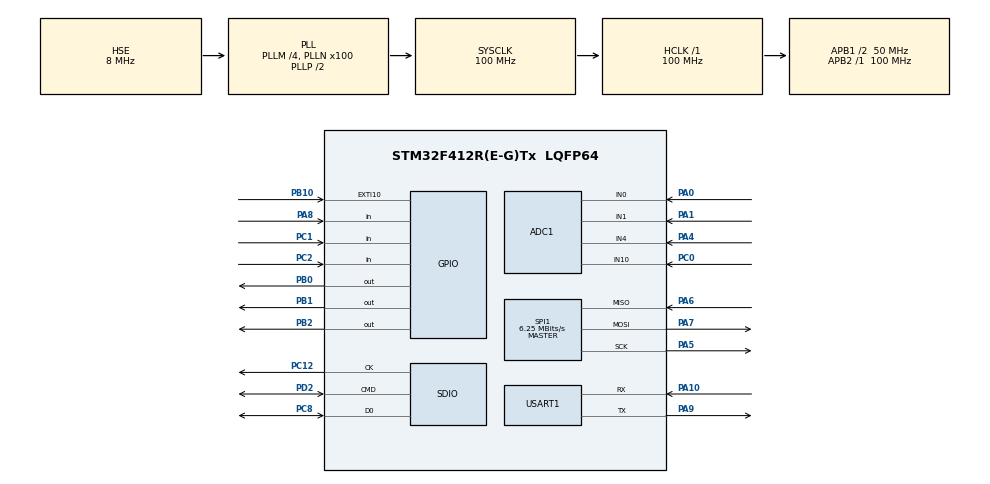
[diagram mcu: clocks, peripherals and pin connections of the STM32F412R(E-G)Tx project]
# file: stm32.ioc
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ADC1.Channel-0\#ChannelRegularConversion=ADC_CHANNEL_0
ADC1.Channel-1\#ChannelRegularConversion=ADC_CHANNEL_1
ADC1.Channel-2\#ChannelRegularConversion=ADC_CHANNEL_4
ADC1.Channel-3\#ChannelRegularConversion=ADC_CHANNEL_10
ADC1.ContinuousConvMode=ENABLE
ADC1.DMAContinuousRequests=ENABLE
ADC1.ExternalTrigConv=ADC_EXTERNALTRIGCONV_T2_TRGO
ADC1.NbrOfConversion=4
ADC1.NbrOfConversionFlag=1
ADC1.Rank-0\#ChannelRegularConversion=1
ADC1.Rank-1\#ChannelRegularConversion=2
ADC1.Rank-2\#ChannelRegularConversion=3
ADC1.Rank-3\#ChannelRegularConversion=4
ADC1.SamplingTime-0\#ChannelRegularConversion=ADC_SAMPLETIME_84CYCLES
ADC1.SamplingTime-1\#ChannelRegularConversion=ADC_SAMPLETIME_84CYCLES
ADC1.SamplingTime-2\#ChannelRegularConversion=ADC_SAMPLETIME_84CYCLES
ADC1.SamplingTime-3\#ChannelRegularConversion=ADC_SAMPLETIME_84CYCLES
ADC1.ScanConvMode=ENABLE
ADC1.master=1
Dma.ADC1.1.Direction=DMA_PERIPH_TO_MEMORY
Dma.ADC1.1.FIFOMode=DMA_FIFOMODE_DISABLE
Dma.ADC1.1.Instance=DMA2_Stream0
Dma.ADC1.1.MemDataAlignment=DMA_MDATAALIGN_HALFWORD
Dma.ADC1.1.MemInc=DMA_MINC_ENABLE
Dma.ADC1.1.Mode=DMA_CIRCULAR
Dma.ADC1.1.PeriphDataAlignment=DMA_PDATAALIGN_HALFWORD
Dma.ADC1.1.PeriphInc=DMA_PINC_DISABLE
Dma.ADC1.1.Priority=DMA_PRIORITY_LOW
Dma.Request0=SDIO
Dma.Request1=ADC1
Dma.SDIO.0.Direction=DMA_PERIPH_TO_MEMORY
Dma.SDIO.0.FIFOMode=DMA_FIFOMODE_ENABLE
Dma.SDIO.0.FIFOThreshold=DMA_FIFO_THRESHOLD_FULL
Dma.SDIO.0.Instance=DMA2_Stream3
Dma.SDIO.0.MemBurst=DMA_MBURST_INC4
Dma.SDIO.0.MemDataAlignment=DMA_MDATAALIGN_WORD
Dma.SDIO.0.MemInc=DMA_MINC_ENABLE
Dma.SDIO.0.Mode=DMA_PFCTRL
Dma.SDIO.0.PeriphBurst=DMA_PBURST_INC4
Dma.SDIO.0.PeriphDataAlignment=DMA_PDATAALIGN_WORD
Dma.SDIO.0.PeriphInc=DMA_PINC_DISABLE
Dma.SDIO.0.Priority=DMA_PRIORITY_LOW
FATFS.BSP.number=1
FATFS._USE_LFN=2
FATFS0.BSP.STBoard=false
FATFS0.BSP.api=Unknown
FATFS0.BSP.instance=PA8
FATFS0.BSP.ip=GPIO
FATFS0.BSP.mode=Input
FATFS0.BSP.name=Detect_SDIO
FATFS0.BSP.solution=PA8
FREERTOS.Tasks01=AppTask,24,1024,StartAppTask,Default,NULL,Dynamic,NULL,NULL
FREERTOS.configCHECK_FOR_STACK_OVERFLOW=2
Mcu.Family=STM32F4
Mcu.Name=STM32F412R(E-G)Tx
Mcu.Package=LQFP64
NVIC.DMA2_Stream0_IRQn=true\:5\:0\:false\:false\:true\:true\:false\:true\:true
NVIC.DMA2_Stream3_IRQn=true\:5\:0\:false\:false\:true\:true\:false\:true\:true
NVIC.EXTI15_10_IRQn=true\:5\:0\:false\:false\:true\:true\:true\:true\:true
NVIC.PriorityGroup=NVIC_PRIORITYGROUP_4
NVIC.SDIO_IRQn=true\:5\:0\:false\:false\:true\:true\:true\:true\:true
NVIC.TIM6_IRQn=true\:15\:0\:false\:false\:true\:false\:false\:true\:true
NVIC.TimeBase=TIM6_IRQn
NVIC.TimeBaseIP=TIM6
PA0.Signal=ADCx_IN0
PA1.Signal=ADCx_IN1
PA10.Mode=Asynchronous
PA10.Signal=USART1_RX
PA13.Mode=Serial_Wire
PA13.Signal=SYS_JTMS-SWDIO
PA14.Mode=Serial_Wire
PA14.Signal=SYS_JTCK-SWCLK
PA4.Signal=ADCx_IN4
PA5.Mode=Full_Duplex_Master
PA5.Signal=SPI1_SCK
PA6.Mode=Full_Duplex_Master
PA6.Signal=SPI1_MISO
PA7.Mode=Full_Duplex_Master
PA7.Signal=SPI1_MOSI
PA8.GPIO_PuPd=GPIO_PULLUP
PA8.Signal=GPIO_Input
PA9.Mode=Asynchronous
PA9.Signal=USART1_TX
PB0.Signal=GPIO_Output
PB1.Signal=GPIO_Output
PB10.GPIO_ModeDefaultEXTI=GPIO_MODE_IT_FALLING
PB10.GPIO_PuPd=GPIO_PULLUP
PB10.Signal=GPXTI10
PB2.Signal=GPIO_Output
PC0.Signal=ADCx_IN10
PC1.GPIO_PuPd=GPIO_PULLUP
PC1.Signal=GPIO_Input
PC12.Mode=SD_1_bit
PC12.Signal=SDIO_CK
PC2.GPIO_PuPd=GPIO_PULLUP
PC2.Signal=GPIO_Input
PC8.Mode=SD_1_bit
PC8.Signal=SDIO_D0
PD2.GPIO_PuPd=GPIO_PULLUP
PD2.Mode=SD_1_bit
PD2.Signal=SDIO_CMD
PH0\ -\ OSC_IN.Mode=HSE-External-Oscillator
PH0\ -\ OSC_IN.Signal=RCC_OSC_IN
PH1\ -\ OSC_OUT.Mode=HSE-External-Oscillator
PH1\ -\ OSC_OUT.Signal=RCC_OSC_OUT
ProjectManager.HeapSize=0x200
ProjectManager.StackSize=0x400
ProjectManager.TargetToolchain=CMake
RCC.AHBFreq_Value=100000000
RCC.APB1CLKDivider=RCC_HCLK_DIV2
RCC.APB1Freq_Value=50000000
RCC.APB1TimFreq_Value=100000000
RCC.APB2Freq_Value=100000000
RCC.APB2TimFreq_Value=100000000
RCC.CortexFreq_Value=100000000
RCC.HCLKFreq_Value=100000000
RCC.HSE_VALUE=8000000
RCC.PLLI2SM=8
RCC.PLLI2SQ=4
RCC.PLLM=4
RCC.PLLN=100
RCC.PLLSourceVirtual=RCC_PLLSOURCE_HSE
RCC.SYSCLKFreq_VALUE=100000000
RCC.SYSCLKSource=RCC_SYSCLKSOURCE_PLLCLK
RCC.USBCLockSelection=RCC_CLK48CLKSOURCE_PLLI2SQ
RCC.USBFreq_Value=48000000
RCC.VCOOutputFreq_Value=200000000
SH.ADCx_IN0.0=ADC1_IN0,IN0
SH.ADCx_IN1.0=ADC1_IN1,IN1
SH.ADCx_IN10.0=ADC1_IN10,IN10
SH.ADCx_IN4.0=ADC1_IN4,IN4
SPI1.BaudRatePrescaler=SPI_BAUDRATEPRESCALER_16
SPI1.CalculateBaudRate=6.25 MBits/s
SPI1.Direction=SPI_DIRECTION_2LINES
SPI1.Mode=SPI_MODE_MASTER
SPI1.VirtualType=VM_MASTER
TIM2.TIM_MasterOutputTrigger=TIM_TRGO_UPDATE
USART1.VirtualMode=VM_ASYNC
VP_FATFS_VS_Generic.Mode=User_defined
VP_FATFS_VS_SDIO.Mode=SDIO
VP_FREERTOS_VS_CMSIS_V2.Mode=CMSIS_V2
VP_RNG_VS_RNG.Mode=RNG_Activate
VP_SYS_VS_tim6.Mode=TIM6
VP_TIM2_VS_ClockSourceINT.Mode=Internal
board=custom

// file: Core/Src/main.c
/* USER CODE BEGIN Header */
/**
  ******************************************************************************
  * @file           : main.c
  * @brief          : Main program body
  ******************************************************************************
  * @attention
  *
  * Copyright (c) 2026 STMicroelectronics.
  * All rights reserved.
  *
  * This software is licensed under terms that can be found in the LICENSE file
  * in the root directory of this software component.
  * If no LICENSE file comes with this software, it is provided AS-IS.
  *
  ******************************************************************************
  */
/* USER CODE END Header */
#include "main.h"
#include "cmsis_os.h"
#include "fatfs.h"

/* USER CODE BEGIN Includes */
#include "include/logger.h"
/* USER CODE END Includes */

ADC_HandleTypeDef hadc1;
DMA_HandleTypeDef hdma_adc1;

RNG_HandleTypeDef hrng;

SD_HandleTypeDef hsd;
DMA_HandleTypeDef hdma_sdio;

SPI_HandleTypeDef hspi1;

TIM_HandleTypeDef htim2;

UART_HandleTypeDef huart1;

/* Definitions for AppTask */
osThreadId_t AppTaskHandle;
const osThreadAttr_t AppTask_attributes = {
  .name = "AppTask",
  .stack_size = 1024 * 4,
  .priority = (osPriority_t) osPriorityNormal,
};
/* USER CODE BEGIN PV */
osThreadId_t RadioTaskHandle;
const osThreadAttr_t RadioTask_attributes = {
  .name = "RadioTask",
  .stack_size = 512 * 4,
  .priority = (osPriority_t) osPriorityNormal,
};
/* USER CODE END PV */

void SystemClock_Config(void);
void PeriphCommonClock_Config(void);
static void MX_GPIO_Init(void);
static void MX_DMA_Init(void);
static void MX_SPI1_Init(void);
static void MX_USART1_UART_Init(void);
static void MX_SDIO_SD_Init(void);
static void MX_ADC1_Init(void);
static void MX_RNG_Init(void);
static void MX_TIM2_Init(void);
void StartAppTask(void *argument);

/* USER CODE BEGIN PFP */
extern void logger_init(void);
extern void RadioTask(void* argument);
/* USER CODE END PFP */

/* USER CODE BEGIN 0 */
volatile uint16_t sharedAdcBuffer[ADC_SAMPLES_PER_CHANNEL][ADC_NUM_CHANNELS];
/**
  sharedAdcBuffer =
  [
    [ADC_CHANNEL_0, ADC_CHANNEL_1, ADC_CHANNEL_4, ADC_CHANNEL_10],  <- 1 замір
    [ADC_CHANNEL_0, ADC_CHANNEL_1, ADC_CHANNEL_4, ADC_CHANNEL_10],  <- 2 замір
    [ADC_CHANNEL_0, ADC_CHANNEL_1, ADC_CHANNEL_4, ADC_CHANNEL_10],  <- 3 замір
    [ADC_CHANNEL_0, ADC_CHANNEL_1, ADC_CHANNEL_4, ADC_CHANNEL_10],  <- 4 замір
    [ADC_CHANNEL_0, ADC_CHANNEL_1, ADC_CHANNEL_4, ADC_CHANNEL_10]   <- 5 замір
  ]

  Рядок - це номер заміру.
  Стовбчик - номер каналу.

  1 замір ADC_CHANNEL_0 = sharedAdcBuffer[0][0]
  2 замір ADC_CHANNEL_0 = sharedAdcBuffer[1][0]
  3 замір ADC_CHANNEL_0 = sharedAdcBuffer[2][0]
  4 замір ADC_CHANNEL_0 = sharedAdcBuffer[3][0]
  5 замір ADC_CHANNEL_0 = sharedAdcBuffer[4][0]

  1 замір ADC_CHANNEL_1 = sharedAdcBuffer[0][1]
  2 замір ADC_CHANNEL_1 = sharedAdcBuffer[1][1]
  3 замір ADC_CHANNEL_1 = sharedAdcBuffer[2][1]
  4 замір ADC_CHANNEL_1 = sharedAdcBuffer[3][1]
  5 замір ADC_CHANNEL_1 = sharedAdcBuffer[4][1]

  І так далі...
*/
/* USER CODE END 0 */

int main(void)
{

  /* MCU Configuration--------------------------------------------------------*/

  /* Reset of all peripherals, Initializes the Flash interface and the Systick. */
  HAL_Init();

  /* Configure the system clock */
  SystemClock_Config();

  /* Configure the peripherals common clocks */
  PeriphCommonClock_Config();

  /* Initialize all configured peripherals */
  MX_GPIO_Init();
  MX_DMA_Init();
  MX_SPI1_Init();
  MX_USART1_UART_Init();
  MX_SDIO_SD_Init();
  MX_FATFS_Init();
  MX_ADC1_Init();
  MX_RNG_Init();
  MX_TIM2_Init();

  /* Init scheduler */
  osKernelInitialize();

  /* USER CODE BEGIN RTOS_MUTEX */
  /* add mutexes, ... */
  logger_init();
  LOG_INFO("TAG", "Hello!");
  /* USER CODE END RTOS_MUTEX */

  /* Create the thread(s) */
  /* creation of AppTask */
  AppTaskHandle = osThreadNew(StartAppTask, NULL, &AppTask_attributes);

  /* USER CODE BEGIN RTOS_THREADS */
  /* add threads, ... */
  RadioTaskHandle = osThreadNew(RadioTask, NULL, &RadioTask_attributes);
  /* USER CODE END RTOS_THREADS */

  /* Start scheduler */
  osKernelStart();

  /* We should never get here as control is now taken by the scheduler */

  /* Infinite loop */
  while (1)
  {

  }
}

void SystemClock_Config(void)
{
  RCC_OscInitTypeDef RCC_OscInitStruct = {0};
  RCC_ClkInitTypeDef RCC_ClkInitStruct = {0};

  /** Configure the main internal regulator output voltage
  */
  __HAL_RCC_PWR_CLK_ENABLE();
  __HAL_PWR_VOLTAGESCALING_CONFIG(PWR_REGULATOR_VOLTAGE_SCALE1);

  /** Initializes the RCC Oscillators according to the specified parameters
  * in the RCC_OscInitTypeDef structure.
  */
  RCC_OscInitStruct.OscillatorType = RCC_OSCILLATORTYPE_HSE;
  RCC_OscInitStruct.HSEState = RCC_HSE_ON;
  RCC_OscInitStruct.PLL.PLLState = RCC_PLL_ON;
  RCC_OscInitStruct.PLL.PLLSource = RCC_PLLSOURCE_HSE;
  RCC_OscInitStruct.PLL.PLLM = 4;
  RCC_OscInitStruct.PLL.PLLN = 100;
  RCC_OscInitStruct.PLL.PLLP = RCC_PLLP_DIV2;
  RCC_OscInitStruct.PLL.PLLQ = 2;
  RCC_OscInitStruct.PLL.PLLR = 2;
  if (HAL_RCC_OscConfig(&RCC_OscInitStruct) != HAL_OK)
  {
    Error_Handler();
  }

  /** Initializes the CPU, AHB and APB buses clocks
  */
  RCC_ClkInitStruct.ClockType = RCC_CLOCKTYPE_HCLK|RCC_CLOCKTYPE_SYSCLK
                              |RCC_CLOCKTYPE_PCLK1|RCC_CLOCKTYPE_PCLK2;
  RCC_ClkInitStruct.SYSCLKSource = RCC_SYSCLKSOURCE_PLLCLK;
  RCC_ClkInitStruct.AHBCLKDivider = RCC_SYSCLK_DIV1;
  RCC_ClkInitStruct.APB1CLKDivider = RCC_HCLK_DIV2;
  RCC_ClkInitStruct.APB2CLKDivider = RCC_HCLK_DIV1;

  if (HAL_RCC_ClockConfig(&RCC_ClkInitStruct, FLASH_LATENCY_3) != HAL_OK)
  {
    Error_Handler();
  }
}

void PeriphCommonClock_Config(void)
{
  RCC_PeriphCLKInitTypeDef PeriphClkInitStruct = {0};

  /** Initializes the peripherals clock
  */
  PeriphClkInitStruct.PeriphClockSelection = RCC_PERIPHCLK_PLLI2S|RCC_PERIPHCLK_CLK48
                              |RCC_PERIPHCLK_SDIO;
  PeriphClkInitStruct.PLLI2S.PLLI2SN = 192;
  PeriphClkInitStruct.PLLI2S.PLLI2SM = 8;
  PeriphClkInitStruct.PLLI2S.PLLI2SR = 2;
  PeriphClkInitStruct.PLLI2S.PLLI2SQ = 4;
  PeriphClkInitStruct.Clk48ClockSelection = RCC_CLK48CLKSOURCE_PLLI2SQ;
  PeriphClkInitStruct.SdioClockSelection = RCC_SDIOCLKSOURCE_CLK48;
  PeriphClkInitStruct.PLLI2SSelection = RCC_PLLI2SCLKSOURCE_PLLSRC;
  if (HAL_RCCEx_PeriphCLKConfig(&PeriphClkInitStruct) != HAL_OK)
  {
    Error_Handler();
  }
}

static void MX_ADC1_Init(void)
{

  ADC_ChannelConfTypeDef sConfig = {0};

  /** Configure the global features of the ADC (Clock, Resolution, Data Alignment and number of conversion)
  */
  hadc1.Instance = ADC1;
  hadc1.Init.ClockPrescaler = ADC_CLOCK_SYNC_PCLK_DIV4;
  hadc1.Init.Resolution = ADC_RESOLUTION_12B;
  hadc1.Init.ScanConvMode = ENABLE;
  hadc1.Init.ContinuousConvMode = ENABLE;
  hadc1.Init.DiscontinuousConvMode = DISABLE;
  hadc1.Init.ExternalTrigConvEdge = ADC_EXTERNALTRIGCONVEDGE_RISING;
  hadc1.Init.ExternalTrigConv = ADC_EXTERNALTRIGCONV_T2_TRGO;
  hadc1.Init.DataAlign = ADC_DATAALIGN_RIGHT;
  hadc1.Init.NbrOfConversion = 4;
  hadc1.Init.DMAContinuousRequests = ENABLE;
  hadc1.Init.EOCSelection = ADC_EOC_SINGLE_CONV;
  if (HAL_ADC_Init(&hadc1) != HAL_OK)
  {
    Error_Handler();
  }

  /** Configure for the selected ADC regular channel its corresponding rank in the sequencer and its sample time.
  */
  sConfig.Channel = ADC_CHANNEL_0;
  sConfig.Rank = 1;
  sConfig.SamplingTime = ADC_SAMPLETIME_84CYCLES;
  if (HAL_ADC_ConfigChannel(&hadc1, &sConfig) != HAL_OK)
  {
    Error_Handler();
  }

  /** Configure for the selected ADC regular channel its corresponding rank in the sequencer and its sample time.
  */
  sConfig.Channel = ADC_CHANNEL_1;
  sConfig.Rank = 2;
  if (HAL_ADC_ConfigChannel(&hadc1, &sConfig) != HAL_OK)
  {
    Error_Handler();
  }

  /** Configure for the selected ADC regular channel its corresponding rank in the sequencer and its sample time.
  */
  sConfig.Channel = ADC_CHANNEL_4;
  sConfig.Rank = 3;
  if (HAL_ADC_ConfigChannel(&hadc1, &sConfig) != HAL_OK)
  {
    Error_Handler();
  }

  /** Configure for the selected ADC regular channel its corresponding rank in the sequencer and its sample time.
  */
  sConfig.Channel = ADC_CHANNEL_10;
  sConfig.Rank = 4;
  if (HAL_ADC_ConfigChannel(&hadc1, &sConfig) != HAL_OK)
  {
    Error_Handler();
  }

}

static void MX_RNG_Init(void)
{

  hrng.Instance = RNG;
  if (HAL_RNG_Init(&hrng) != HAL_OK)
  {
    Error_Handler();
  }

}

static void MX_SDIO_SD_Init(void)
{

  hsd.Instance = SDIO;
  hsd.Init.ClockEdge = SDIO_CLOCK_EDGE_RISING;
  hsd.Init.ClockBypass = SDIO_CLOCK_BYPASS_DISABLE;
  hsd.Init.ClockPowerSave = SDIO_CLOCK_POWER_SAVE_DISABLE;
  hsd.Init.BusWide = SDIO_BUS_WIDE_1B;
  hsd.Init.HardwareFlowControl = SDIO_HARDWARE_FLOW_CONTROL_DISABLE;
  hsd.Init.ClockDiv = 0;

}

static void MX_SPI1_Init(void)
{

  /* SPI1 parameter configuration*/
  hspi1.Instance = SPI1;
  hspi1.Init.Mode = SPI_MODE_MASTER;
  hspi1.Init.Direction = SPI_DIRECTION_2LINES;
  hspi1.Init.DataSize = SPI_DATASIZE_8BIT;
  hspi1.Init.CLKPolarity = SPI_POLARITY_LOW;
  hspi1.Init.CLKPhase = SPI_PHASE_1EDGE;
  hspi1.Init.NSS = SPI_NSS_SOFT;
  hspi1.Init.BaudRatePrescaler = SPI_BAUDRATEPRESCALER_16;
  hspi1.Init.FirstBit = SPI_FIRSTBIT_MSB;
  hspi1.Init.TIMode = SPI_TIMODE_DISABLE;
  hspi1.Init.CRCCalculation = SPI_CRCCALCULATION_DISABLE;
  hspi1.Init.CRCPolynomial = 10;
  if (HAL_SPI_Init(&hspi1) != HAL_OK)
  {
    Error_Handler();
  }

}

static void MX_TIM2_Init(void)
{

  TIM_ClockConfigTypeDef sClockSourceConfig = {0};
  TIM_MasterConfigTypeDef sMasterConfig = {0};

  htim2.Instance = TIM2;
  htim2.Init.Prescaler = 0;
  htim2.Init.CounterMode = TIM_COUNTERMODE_UP;
  htim2.Init.Period = 4294967295;
  htim2.Init.ClockDivision = TIM_CLOCKDIVISION_DIV1;
  htim2.Init.AutoReloadPreload = TIM_AUTORELOAD_PRELOAD_DISABLE;
  if (HAL_TIM_Base_Init(&htim2) != HAL_OK)
  {
    Error_Handler();
  }
  sClockSourceConfig.ClockSource = TIM_CLOCKSOURCE_INTERNAL;
  if (HAL_TIM_ConfigClockSource(&htim2, &sClockSourceConfig) != HAL_OK)
  {
    Error_Handler();
  }
  sMasterConfig.MasterOutputTrigger = TIM_TRGO_UPDATE;
  sMasterConfig.MasterSlaveMode = TIM_MASTERSLAVEMODE_DISABLE;
  if (HAL_TIMEx_MasterConfigSynchronization(&htim2, &sMasterConfig) != HAL_OK)
  {
    Error_Handler();
  }

}

static void MX_USART1_UART_Init(void)
{

  huart1.Instance = USART1;
  huart1.Init.BaudRate = 115200;
  huart1.Init.WordLength = UART_WORDLENGTH_8B;
  huart1.Init.StopBits = UART_STOPBITS_1;
  huart1.Init.Parity = UART_PARITY_NONE;
  huart1.Init.Mode = UART_MODE_TX_RX;
  huart1.Init.HwFlowCtl = UART_HWCONTROL_NONE;
  huart1.Init.OverSampling = UART_OVERSAMPLING_16;
  if (HAL_UART_Init(&huart1) != HAL_OK)
  {
    Error_Handler();
  }

}

static void MX_DMA_Init(void)
{

  /* DMA controller clock enable */
  __HAL_RCC_DMA2_CLK_ENABLE();

  /* DMA interrupt init */
  /* DMA2_Stream0_IRQn interrupt configuration */
  HAL_NVIC_SetPriority(DMA2_Stream0_IRQn, 5, 0);
  HAL_NVIC_EnableIRQ(DMA2_Stream0_IRQn);
  /* DMA2_Stream3_IRQn interrupt configuration */
  HAL_NVIC_SetPriority(DMA2_Stream3_IRQn, 5, 0);
  HAL_NVIC_EnableIRQ(DMA2_Stream3_IRQn);

}

static void MX_GPIO_Init(void)
{
  GPIO_InitTypeDef GPIO_InitStruct = {0};

  /* GPIO Ports Clock Enable */
  __HAL_RCC_GPIOH_CLK_ENABLE();
  __HAL_RCC_GPIOC_CLK_ENABLE();
  __HAL_RCC_GPIOA_CLK_ENABLE();
  __HAL_RCC_GPIOB_CLK_ENABLE();
  __HAL_RCC_GPIOD_CLK_ENABLE();

  /*Configure GPIO pin Output Level */
  HAL_GPIO_WritePin(GPIOB, GPIO_PIN_0|GPIO_PIN_1|GPIO_PIN_2, GPIO_PIN_RESET);

  /*Configure GPIO pins : PC1 PC2 */
  GPIO_InitStruct.Pin = GPIO_PIN_1|GPIO_PIN_2;
  GPIO_InitStruct.Mode = GPIO_MODE_INPUT;
  GPIO_InitStruct.Pull = GPIO_PULLUP;
  HAL_GPIO_Init(GPIOC, &GPIO_InitStruct);

  /*Configure GPIO pins : PB0 PB1 PB2 */
  GPIO_InitStruct.Pin = GPIO_PIN_0|GPIO_PIN_1|GPIO_PIN_2;
  GPIO_InitStruct.Mode = GPIO_MODE_OUTPUT_PP;
  GPIO_InitStruct.Pull = GPIO_NOPULL;
  GPIO_InitStruct.Speed = GPIO_SPEED_FREQ_LOW;
  HAL_GPIO_Init(GPIOB, &GPIO_InitStruct);

  /*Configure GPIO pin : PB10 */
  GPIO_InitStruct.Pin = GPIO_PIN_10;
  GPIO_InitStruct.Mode = GPIO_MODE_IT_FALLING;
  GPIO_InitStruct.Pull = GPIO_PULLUP;
  HAL_GPIO_Init(GPIOB, &GPIO_InitStruct);

  /*Configure GPIO pin : PA8 */
  GPIO_InitStruct.Pin = GPIO_PIN_8;
  GPIO_InitStruct.Mode = GPIO_MODE_INPUT;
  GPIO_InitStruct.Pull = GPIO_PULLUP;
  HAL_GPIO_Init(GPIOA, &GPIO_InitStruct);

  /* EXTI interrupt init*/
  HAL_NVIC_SetPriority(EXTI15_10_IRQn, 5, 0);
  HAL_NVIC_EnableIRQ(EXTI15_10_IRQn);

}

void StartAppTask(void *argument)
{
  /* USER CODE BEGIN 5 */
  /* Infinite loop */
  (void)argument;
  extern void app_main(void);
  app_main();
  /* USER CODE END 5 */
}

void HAL_TIM_PeriodElapsedCallback(TIM_HandleTypeDef *htim)
{
  if (htim->Instance == TIM6)
  {
    HAL_IncTick();
  }
}

void Error_Handler(void)
{
  __disable_irq();
  while (1)
  {
  }
}

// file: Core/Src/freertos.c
/* USER CODE BEGIN Header */
/**
  ******************************************************************************
  * File Name          : freertos.c
  * Description        : Code for freertos applications
  ******************************************************************************
  * @attention
  *
  * Copyright (c) 2026 STMicroelectronics.
  * All rights reserved.
  *
  * This software is licensed under terms that can be found in the LICENSE file
  * in the root directory of this software component.
  * If no LICENSE file comes with this software, it is provided AS-IS.
  *
  ******************************************************************************
  */
/* USER CODE END Header */

#include "FreeRTOS.h"
#include "task.h"
#include "main.h"

/* USER CODE BEGIN Includes */
#include "include/logger.h"
/* USER CODE END Includes */

/* Hook prototypes */
void vApplicationStackOverflowHook(xTaskHandle xTask, signed char *pcTaskName);

/* USER CODE BEGIN 4 */
void vApplicationStackOverflowHook(xTaskHandle xTask, signed char *pcTaskName)
{
  (void)xTask;
   /* Run time stack overflow checking is performed if
   configCHECK_FOR_STACK_OVERFLOW is defined to 1 or 2. This hook function is
   called if a stack overflow is detected. */

  // Stack overflow виявлено — це критична, непередбачувана помилка.
  // Продовжувати виконання небезпечно (пам'ять уже могла бути
  // пошкоджена), тому просто логуємо назву задачі й зупиняємось.
  LOG_ERROR("RTOS", "Stack overflow in task: %s", (const char*)pcTaskName);

  // Безпечна зупинка — не намагаємось "продовжити", бо стан
  // системи вже непередбачуваний.
  __disable_irq();
  while (1)
  {
  }
}
/* USER CODE END 4 */
